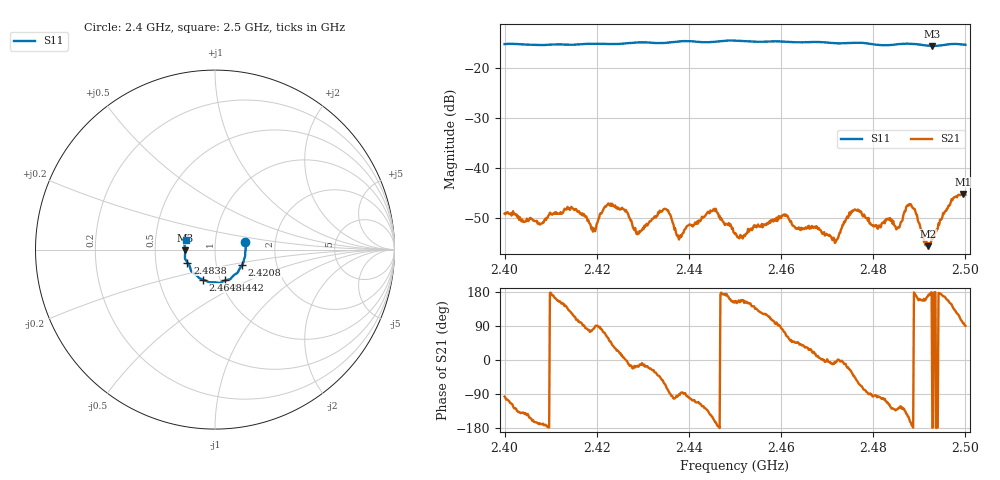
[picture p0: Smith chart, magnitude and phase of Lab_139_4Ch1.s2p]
# Hz S RI R 50
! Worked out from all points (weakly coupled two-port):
!   601 points, 2.4 GHz to 2.5 GHz, reference 50 ohm
!   highest |S21| = -45.15 dB at 2.4995 GHz (marker M1); lowest = -55.6 dB at 2.4918 GHz (marker M2)
!   lowest |S11| = -15.6 dB at 2.4928 GHz (marker M3), VSWR 1.40, Z = 35.8 - j0.359 ohm
!   |S11| at or under -10 dB: start of sweep to end of sweep
!   S12 and S22 are empty: the file has one direction only
!   S11 on the Smith chart (normalised r, x): 2.4 GHz: 1.40, +0.12; 2.4208 GHz: 1.33, -0.24; 2.4442 GHz: 1.05, -0.37; 2.4648 GHz: 0.83, -0.29; 2.4838 GHz: 0.73, -0.11; 2.5 GHz: 0.72, +0.08
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2.4e9  0.1679 0.0413  -0.000396 -0.00349  0 0  0 0
2.416667e9  0.1588 -0.0681  -0.000486 0.00341  0 0  0 0
2.419333e9  0.1538 -0.0816  0.000316 0.00248  0 0  0 0
2.420833e9  0.1506 -0.087  0.000499 0.00351  0 0  0 0
2.425833e9  0.1334 -0.1132  0.00386 0.000461  0 0  0 0
2.429e9  0.1271 -0.1271  0.0022 -0.000711  0 0  0 0
2.433333e9  0.1078 -0.1404  0.00274 -0.00238  0 0  0 0
2.437833e9  0.0887 -0.1614  -1.54e-05 -0.00194  0 0  0 0
2.444167e9  0.0567 -0.1714  -0.00259 -0.00261  0 0  0 0
2.45e9  0.0245 -0.186  -0.00199 0.000935  0 0  0 0
2.460667e9  -0.0386 -0.1788  0.000956 0.00332  0 0  0 0
2.464833e9  -0.0684 -0.1669  0.00195 0.00154  0 0  0 0
2.466667e9  -0.0799 -0.1629  0.00243 0.00103  0 0  0 0
2.471667e9  -0.0999 -0.1455  0.00178 -0.000143  0 0  0 0
2.475667e9  -0.1259 -0.1258  0.00281 -0.00249  0 0  0 0
2.483333e9  -0.1506 -0.0761  -0.00142 -0.0028  0 0  0 0
2.483833e9  -0.1534 -0.0721  -0.00172 -0.00243  0 0  0 0
2.488333e9  -0.1674 -0.0465  -0.00414 -0.000608  0 0  0 0
2.491833e9  -0.1664 -0.0167  -0.00163 0.000337  0 0  0 0
2.492833e9  -0.1658 -0.00488  -0.00204 -3.28e-05  0 0  0 0
2.4995e9  -0.1642 0.0488  -0.00066 0.00549  0 0  0 0
2.5e9  -0.1621 0.0528  -6.48e-06 0.00542  0 0  0 0
